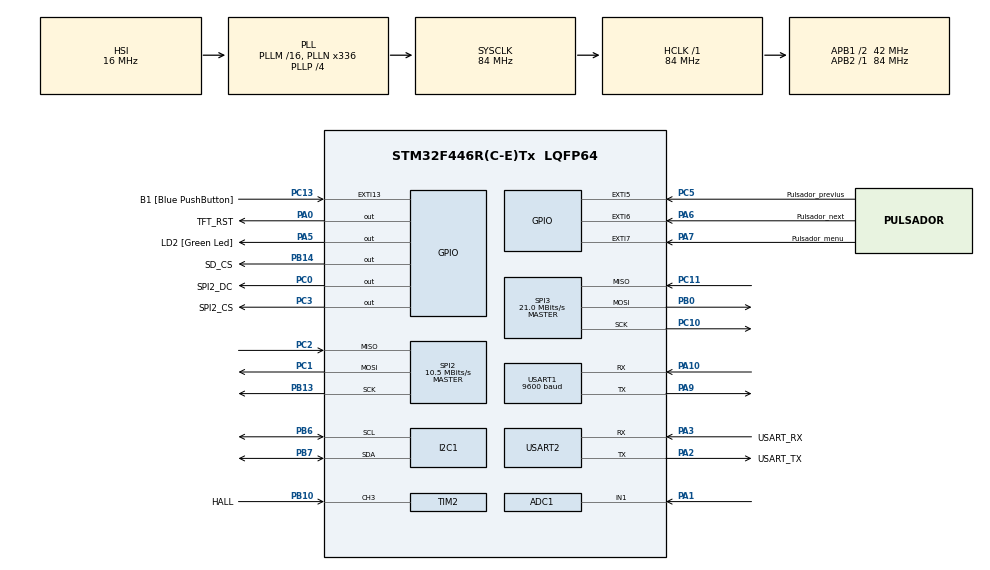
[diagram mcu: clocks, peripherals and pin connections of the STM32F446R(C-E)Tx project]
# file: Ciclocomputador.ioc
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ADC1.Channel-0\#ChannelRegularConversion=ADC_CHANNEL_1
ADC1.NbrOfConversionFlag=1
ADC1.Rank-0\#ChannelRegularConversion=1
ADC1.SamplingTime-0\#ChannelRegularConversion=ADC_SAMPLETIME_3CYCLES
ADC1.master=1
Dma.Request0=SPI2_TX
Dma.Request1=USART1_RX
Dma.SPI2_TX.0.Direction=DMA_MEMORY_TO_PERIPH
Dma.SPI2_TX.0.FIFOMode=DMA_FIFOMODE_DISABLE
Dma.SPI2_TX.0.Instance=DMA1_Stream4
Dma.SPI2_TX.0.MemDataAlignment=DMA_MDATAALIGN_BYTE
Dma.SPI2_TX.0.MemInc=DMA_MINC_ENABLE
Dma.SPI2_TX.0.Mode=DMA_NORMAL
Dma.SPI2_TX.0.PeriphDataAlignment=DMA_PDATAALIGN_BYTE
Dma.SPI2_TX.0.PeriphInc=DMA_PINC_DISABLE
Dma.SPI2_TX.0.Priority=DMA_PRIORITY_LOW
Dma.USART1_RX.1.Direction=DMA_PERIPH_TO_MEMORY
Dma.USART1_RX.1.FIFOMode=DMA_FIFOMODE_DISABLE
Dma.USART1_RX.1.Instance=DMA2_Stream2
Dma.USART1_RX.1.MemDataAlignment=DMA_MDATAALIGN_BYTE
Dma.USART1_RX.1.MemInc=DMA_MINC_ENABLE
Dma.USART1_RX.1.Mode=DMA_NORMAL
Dma.USART1_RX.1.PeriphDataAlignment=DMA_PDATAALIGN_BYTE
Dma.USART1_RX.1.PeriphInc=DMA_PINC_DISABLE
Dma.USART1_RX.1.Priority=DMA_PRIORITY_LOW
FREERTOS.Tasks01=defaultTask,24,128,StartDefaultTask,Default,NULL,Dynamic,NULL,NULL
FREERTOS.configUSE_NEWLIB_REENTRANT=1
Mcu.Family=STM32F4
Mcu.Name=STM32F446R(C-E)Tx
Mcu.Package=LQFP64
NVIC.ADC_IRQn=true\:5\:0\:false\:false\:true\:true\:true\:true\:true
NVIC.DMA1_Stream4_IRQn=true\:5\:0\:false\:false\:true\:true\:false\:true\:true
NVIC.DMA2_Stream2_IRQn=true\:5\:0\:false\:false\:true\:true\:false\:true\:true
NVIC.EXTI9_5_IRQn=true\:5\:0\:false\:false\:true\:true\:true\:true\:true
NVIC.I2C1_ER_IRQn=true\:5\:0\:false\:false\:true\:true\:true\:true\:true
NVIC.I2C1_EV_IRQn=true\:5\:0\:false\:false\:true\:true\:true\:true\:true
NVIC.PriorityGroup=NVIC_PRIORITYGROUP_4
NVIC.SPI2_IRQn=true\:5\:0\:false\:false\:true\:true\:true\:true\:true
NVIC.TIM2_IRQn=true\:5\:0\:false\:false\:true\:true\:true\:true\:true
NVIC.TIM8_TRG_COM_TIM14_IRQn=true\:15\:0\:false\:false\:true\:false\:false\:true\:true
NVIC.TimeBase=TIM8_TRG_COM_TIM14_IRQn
NVIC.TimeBaseIP=TIM14
NVIC.USART1_IRQn=true\:5\:0\:false\:false\:true\:true\:true\:true\:true
PA0-WKUP.GPIO_Label=TFT_RST
PA0-WKUP.Signal=GPIO_Output
PA1.Signal=ADCx_IN1
PA10.Mode=Asynchronous
PA10.Signal=USART1_RX
PA13.GPIO_Label=TMS
PA13.Mode=Serial_Wire
PA13.Signal=SYS_JTMS-SWDIO
PA14.GPIO_Label=TCK
PA14.Mode=Serial_Wire
PA14.Signal=SYS_JTCK-SWCLK
PA2.GPIO_Label=USART_TX
PA2.Mode=Asynchronous
PA2.Signal=USART2_TX
PA3.GPIO_Label=USART_RX
PA3.Mode=Asynchronous
PA3.Signal=USART2_RX
PA5.GPIO_Label=LD2 [Green Led]
PA5.Signal=GPIO_Output
PA6.GPIO_Label=Pulsador_next
PA6.GPIO_ModeDefaultEXTI=GPIO_MODE_IT_RISING_FALLING
PA6.GPIO_PuPd=GPIO_PULLUP
PA6.Signal=GPXTI6
PA7.GPIO_Label=Pulsador_menu
PA7.GPIO_ModeDefaultEXTI=GPIO_MODE_IT_RISING_FALLING
PA7.GPIO_PuPd=GPIO_PULLUP
PA7.Signal=GPXTI7
PA9.Mode=Asynchronous
PA9.Signal=USART1_TX
PB0.Mode=Full_Duplex_Master
PB0.Signal=SPI3_MOSI
PB10.GPIO_Label=HALL
PB10.Signal=S_TIM2_CH3
PB13.Mode=Full_Duplex_Master
PB13.Signal=SPI2_SCK
PB14.GPIO_Label=SD_CS
PB14.Signal=GPIO_Output
PB3.GPIO_Label=SWO
PB3.Signal=SYS_JTDO-SWO
PB6.Mode=I2C
PB6.Signal=I2C1_SCL
PB7.Mode=I2C
PB7.Signal=I2C1_SDA
PC0.GPIO_Label=SPI2_DC
PC0.Signal=GPIO_Output
PC1.Mode=Full_Duplex_Master
PC1.Signal=SPI2_MOSI
PC10.Mode=Full_Duplex_Master
PC10.Signal=SPI3_SCK
PC11.GPIO_PuPd=GPIO_PULLUP
PC11.Mode=Full_Duplex_Master
PC11.Signal=SPI3_MISO
PC13.GPIO_Label=B1 [Blue PushButton]
PC13.GPIO_ModeDefaultEXTI=GPIO_MODE_IT_FALLING
PC13.Signal=GPXTI13
PC14-OSC32_IN.Mode=LSE-External-Oscillator
PC14-OSC32_IN.Signal=RCC_OSC32_IN
PC15-OSC32_OUT.Mode=LSE-External-Oscillator
PC15-OSC32_OUT.Signal=RCC_OSC32_OUT
PC2.Mode=Full_Duplex_Master
PC2.Signal=SPI2_MISO
PC3.GPIO_Label=SPI2_CS
PC3.Signal=GPIO_Output
PC5.GPIO_Label=Pulsador_previus
PC5.GPIO_ModeDefaultEXTI=GPIO_MODE_IT_RISING_FALLING
PC5.GPIO_PuPd=GPIO_PULLUP
PC5.Signal=GPXTI5
PH0-OSC_IN.Mode=HSE-External-Oscillator
PH0-OSC_IN.Signal=RCC_OSC_IN
PH1-OSC_OUT.Mode=HSE-External-Oscillator
PH1-OSC_OUT.Signal=RCC_OSC_OUT
ProjectManager.HeapSize=0x200
ProjectManager.StackSize=0x400
ProjectManager.TargetToolchain=STM32CubeIDE
RCC.48MHZClocksFreq_Value=84000000
RCC.AHBFreq_Value=84000000
RCC.APB1CLKDivider=RCC_HCLK_DIV2
RCC.APB1Freq_Value=42000000
RCC.APB1TimFreq_Value=84000000
RCC.APB2Freq_Value=84000000
RCC.APB2TimFreq_Value=84000000
RCC.CortexFreq_Value=84000000
RCC.FLatency-AdvancedSettings=FLASH_LATENCY_2
RCC.HCLKFreq_Value=84000000
RCC.HSE_VALUE=8000000
RCC.HSI_VALUE=16000000
RCC.PLLN=336
RCC.PLLP=RCC_PLLP_DIV4
RCC.SYSCLKFreq_VALUE=84000000
RCC.SYSCLKSource=RCC_SYSCLKSOURCE_PLLCLK
RCC.USBFreq_Value=168000000
RCC.VCOOutputFreq_Value=336000000
SH.ADCx_IN1.0=ADC1_IN1,IN1
SH.S_TIM2_CH3.0=TIM2_CH3,Input_Capture3_from_TI3
SPI2.BaudRatePrescaler=SPI_BAUDRATEPRESCALER_4
SPI2.CalculateBaudRate=10.5 MBits/s
SPI2.Direction=SPI_DIRECTION_2LINES
SPI2.Mode=SPI_MODE_MASTER
SPI2.VirtualType=VM_MASTER
SPI3.CalculateBaudRate=21.0 MBits/s
SPI3.Direction=SPI_DIRECTION_2LINES
SPI3.Mode=SPI_MODE_MASTER
SPI3.VirtualType=VM_MASTER
TIM2.Channel-Input_Capture3_from_TI3=TIM_CHANNEL_3
TIM2.ICFilter_CH3=15
TIM2.ICPolarity_CH3=TIM_INPUTCHANNELPOLARITY_FALLING
TIM2.Prescaler=84-1
USART1.BaudRate=9600
USART1.VirtualMode=VM_ASYNC
USART2.VirtualMode=VM_ASYNC
VP_FATFS_VS_Generic.Mode=User_defined
VP_FREERTOS_VS_CMSIS_V2.Mode=CMSIS_V2
VP_SYS_VS_tim14.Mode=TIM14
VP_TIM2_VS_ClockSourceINT.Mode=Internal
board=NUCLEO-F446RE

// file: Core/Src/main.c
/* USER CODE BEGIN Header */
/**
  ******************************************************************************
  * @file           : main.c
  * @brief          : Main program body
  ******************************************************************************
  * @attention
  *
  * Copyright (c) 2026 STMicroelectronics.
  * All rights reserved.
  *
  * This software is licensed under terms that can be found in the LICENSE file
  * in the root directory of this software component.
  * If no LICENSE file comes with this software, it is provided AS-IS.
  *
  ******************************************************************************
  */
/* USER CODE END Header */
#include "main.h"
#include "cmsis_os.h"
#include "adc.h"
#include "dma.h"
#include "fatfs.h"
#include "i2c.h"
#include "spi.h"
#include "tim.h"
#include "usart.h"
#include "gpio.h"

/* USER CODE BEGIN Includes */
#include <stdio.h>
#include "queue.h"
#include "fit_task.h"
#include "fatfs.h"
#include "math.h"
#include "task_pulsador.h"
#include "gui.h"
#include "gps_task.h"
#include "bmp280_task.h"
#include "tarea_distribuicion.h"
#include "bateria_task.h"
#include "hall_task.h"
/* USER CODE END Includes */

/* USER CODE BEGIN PV */
extern TaskHandle_t lvgl_task_handle;
/* USER CODE END PV */

void SystemClock_Config(void);
void MX_FREERTOS_Init(void);

/* USER CODE BEGIN 0 */

#define SC_PER_M 107.173

#define DEG_TO_SC (2147483648.0 / 180.0)
#define LAT0_SC   ((FIT_SINT32)(-34.6037 * DEG_TO_SC))   // punto de partida (Buenos Aires)
#define LON0_SC   ((FIT_SINT32)(-58.3816 * DEG_TO_SC))

//void TaskUpdateDashboard(void* p){
//	float tiempo=0;
//	telemetry_t datos;
//	gui_msg_t m;
//	sd_telemetry_t datos_sd;
//
//	while(1){
//		tiempo+=0.5;
//		datos.speed=(float)(((int32_t)(50+tiempo*5))%50);
//		datos.altitude=500+400*sin(tiempo * 0.5);
//		datos.avg_speed=34.2+tiempo*0.8;
//		datos.battery=100-tiempo*0.5;
//		datos.distance=40+tiempo;
//		datos.slope=20-tiempo*0.2;
//		datos.time.hora = 10+(uint8_t)tiempo;
//		datos.time.minuto = 25+((uint8_t)tiempo)%10;
//		datos.time.segundo = 35+((uint8_t)tiempo)%10;
//		datos.satellites=3;
//
//		m.type=MSG_TELEMETRY;
//		m.p.telemetry=datos;
//		gui_post(&m);
//
//		datos_sd.speed=10+tiempo*0.5;
//		datos_sd.enhanced_altitude=500+400*sin(tiempo * 0.01);
//		datos_sd.distance=40+tiempo;
//		datos_sd.position_lat=LAT0_SC + (FIT_SINT32)(50.0 * sin(tiempo * 0.05) * SC_PER_M);;
//		datos_sd.position_long=LON0_SC +((FIT_SINT32)(tiempo * SC_PER_M));
//
//		sd_post_data(&datos_sd);
//
//		vTaskDelay(pdMS_TO_TICKS(100));
//	}
//}

/* USER CODE END 0 */

int main(void)
{

  /* MCU Configuration--------------------------------------------------------*/

  /* Reset of all peripherals, Initializes the Flash interface and the Systick. */
  HAL_Init();

  /* Configure the system clock */
  SystemClock_Config();

  /* Initialize all configured peripherals */
  MX_GPIO_Init();
  MX_DMA_Init();
  MX_SPI2_Init();
  MX_USART2_UART_Init();
  MX_I2C1_Init();
  MX_SPI3_Init();
  MX_USART1_UART_Init();
  MX_FATFS_Init();
  MX_ADC1_Init();
  MX_TIM2_Init();
  /* USER CODE BEGIN 2 */

  init_task_fit();
  init_task_pulsador();
  init_gps();
  init_bateria();
  init_bmp280();
  init_hall();
  init_distribucion();

//  xTaskCreate(
//		  TaskUpdateDashboard,
//  	          "Task_update_data",
//  	          configMINIMAL_STACK_SIZE,
//  	          NULL,
//  	          tskIDLE_PRIORITY + 2,
//  	          NULL
//  	      );
  volatile BaseType_t b=10;

b = xTaskCreate(
  			  task_gui,
  	          "LVGL_Task",
  	          2048,
  	          NULL,
  	          tskIDLE_PRIORITY + 2,
  	          &lvgl_task_handle
  	     );
b++;

  /* USER CODE END 2 */

  /* Init scheduler */
  osKernelInitialize();  /* Call init function for freertos objects (in cmsis_os2.c) */
  MX_FREERTOS_Init();

  /* Start scheduler */
  osKernelStart();

  /* We should never get here as control is now taken by the scheduler */

  /* Infinite loop */
  while (1)
  {

  }
}

void SystemClock_Config(void)
{
  RCC_OscInitTypeDef RCC_OscInitStruct = {0};
  RCC_ClkInitTypeDef RCC_ClkInitStruct = {0};

  /** Configure the main internal regulator output voltage
  */
  __HAL_RCC_PWR_CLK_ENABLE();
  __HAL_PWR_VOLTAGESCALING_CONFIG(PWR_REGULATOR_VOLTAGE_SCALE3);

  /** Initializes the RCC Oscillators according to the specified parameters
  * in the RCC_OscInitTypeDef structure.
  */
  RCC_OscInitStruct.OscillatorType = RCC_OSCILLATORTYPE_HSI;
  RCC_OscInitStruct.HSIState = RCC_HSI_ON;
  RCC_OscInitStruct.HSICalibrationValue = RCC_HSICALIBRATION_DEFAULT;
  RCC_OscInitStruct.PLL.PLLState = RCC_PLL_ON;
  RCC_OscInitStruct.PLL.PLLSource = RCC_PLLSOURCE_HSI;
  RCC_OscInitStruct.PLL.PLLM = 16;
  RCC_OscInitStruct.PLL.PLLN = 336;
  RCC_OscInitStruct.PLL.PLLP = RCC_PLLP_DIV4;
  RCC_OscInitStruct.PLL.PLLQ = 2;
  RCC_OscInitStruct.PLL.PLLR = 2;
  if (HAL_RCC_OscConfig(&RCC_OscInitStruct) != HAL_OK)
  {
    Error_Handler();
  }

  /** Initializes the CPU, AHB and APB buses clocks
  */
  RCC_ClkInitStruct.ClockType = RCC_CLOCKTYPE_HCLK|RCC_CLOCKTYPE_SYSCLK
                              |RCC_CLOCKTYPE_PCLK1|RCC_CLOCKTYPE_PCLK2;
  RCC_ClkInitStruct.SYSCLKSource = RCC_SYSCLKSOURCE_PLLCLK;
  RCC_ClkInitStruct.AHBCLKDivider = RCC_SYSCLK_DIV1;
  RCC_ClkInitStruct.APB1CLKDivider = RCC_HCLK_DIV2;
  RCC_ClkInitStruct.APB2CLKDivider = RCC_HCLK_DIV1;

  if (HAL_RCC_ClockConfig(&RCC_ClkInitStruct, FLASH_LATENCY_2) != HAL_OK)
  {
    Error_Handler();
  }
}

void HAL_TIM_PeriodElapsedCallback(TIM_HandleTypeDef *htim)
{
  if (htim->Instance == TIM14)
  {
    HAL_IncTick();
  }
}

void Error_Handler(void)
{
  __disable_irq();
  while (1)
  {
  }
}
